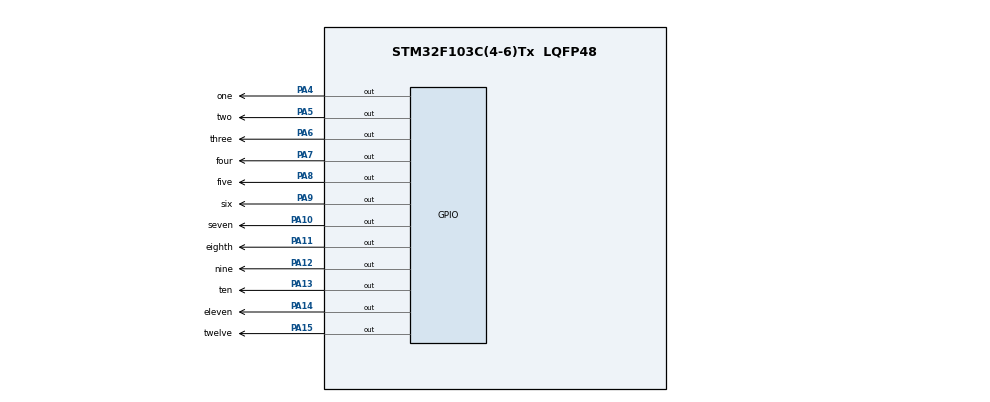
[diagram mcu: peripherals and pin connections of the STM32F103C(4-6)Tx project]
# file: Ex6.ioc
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Mcu.Family=STM32F1
Mcu.Name=STM32F103C(4-6)Tx
Mcu.Package=LQFP48
NVIC.PriorityGroup=NVIC_PRIORITYGROUP_4
PA10.GPIO_Label=seven
PA10.Signal=GPIO_Output
PA11.GPIO_Label=eighth
PA11.Signal=GPIO_Output
PA12.GPIO_Label=nine
PA12.Signal=GPIO_Output
PA13.GPIO_Label=ten
PA13.Signal=GPIO_Output
PA14.GPIO_Label=eleven
PA14.Signal=GPIO_Output
PA15.GPIO_Label=twelve
PA15.Signal=GPIO_Output
PA4.GPIO_Label=one
PA4.Signal=GPIO_Output
PA5.GPIO_Label=two
PA5.Signal=GPIO_Output
PA6.GPIO_Label=three
PA6.Signal=GPIO_Output
PA7.GPIO_Label=four
PA7.Signal=GPIO_Output
PA8.GPIO_Label=five
PA8.Signal=GPIO_Output
PA9.GPIO_Label=six
PA9.Signal=GPIO_Output
ProjectManager.HeapSize=0x200
ProjectManager.StackSize=0x400
ProjectManager.TargetToolchain=STM32CubeIDE
RCC.APB1Freq_Value=8000000
RCC.APB2Freq_Value=8000000
VP_SYS_VS_ND.Mode=No_Debug
board=custom

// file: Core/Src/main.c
/* USER CODE BEGIN Header */
/**
  ******************************************************************************
  * @file           : main.c
  * @brief          : Main program body
  ******************************************************************************
  * @attention
  *
  * <h2><center>&copy; Copyright (c) 2025 STMicroelectronics.
  * All rights reserved.</center></h2>
  *
  * This software component is licensed by ST under BSD 3-Clause license,
  * the "License"; You may not use this file except in compliance with the
  * License. You may obtain a copy of the License at:
  *                        opensource.org/licenses/BSD-3-Clause
  *
  ******************************************************************************
  */
/* USER CODE END Header */
#include "main.h"

/* USER CODE BEGIN PV */

uint16_t led_pins[12] = {
    GPIO_PIN_4, GPIO_PIN_5, GPIO_PIN_6, GPIO_PIN_7,
    GPIO_PIN_8, GPIO_PIN_9, GPIO_PIN_10, GPIO_PIN_11,
    GPIO_PIN_12, GPIO_PIN_13, GPIO_PIN_14, GPIO_PIN_15
};
void init()
{
	for(int  i = 0; i < 12; i = i +1)
		{
			HAL_GPIO_WritePin(GPIOA, led_pins[i], SET);
		}
}
void toggle_led(int num)
{
      if(num < 12)
    	 HAL_GPIO_TogglePin(GPIOA, led_pins[num]);

}
/* USER CODE END PV */

void SystemClock_Config(void);
static void MX_GPIO_Init(void);

int main(void)
{

  /* MCU Configuration--------------------------------------------------------*/

  /* Reset of all peripherals, Initializes the Flash interface and the Systick. */
  HAL_Init();

  /* Configure the system clock */
  SystemClock_Config();

  /* Initialize all configured peripherals */
  MX_GPIO_Init();

  /* Infinite loop */
  /* USER CODE BEGIN WHILE */
  init();
  uint8_t count = 0;
  while (1)
  {
	  toggle_led(count);
	  count = (count+1)%12;
	  HAL_Delay(100);
    /* USER CODE END WHILE */
  }
}

void SystemClock_Config(void)
{
  RCC_OscInitTypeDef RCC_OscInitStruct = {0};
  RCC_ClkInitTypeDef RCC_ClkInitStruct = {0};

  /** Initializes the RCC Oscillators according to the specified parameters
  * in the RCC_OscInitTypeDef structure.
  */
  RCC_OscInitStruct.OscillatorType = RCC_OSCILLATORTYPE_HSI;
  RCC_OscInitStruct.HSIState = RCC_HSI_ON;
  RCC_OscInitStruct.HSICalibrationValue = RCC_HSICALIBRATION_DEFAULT;
  RCC_OscInitStruct.PLL.PLLState = RCC_PLL_NONE;
  if (HAL_RCC_OscConfig(&RCC_OscInitStruct) != HAL_OK)
  {
    Error_Handler();
  }
  /** Initializes the CPU, AHB and APB buses clocks
  */
  RCC_ClkInitStruct.ClockType = RCC_CLOCKTYPE_HCLK|RCC_CLOCKTYPE_SYSCLK
                              |RCC_CLOCKTYPE_PCLK1|RCC_CLOCKTYPE_PCLK2;
  RCC_ClkInitStruct.SYSCLKSource = RCC_SYSCLKSOURCE_HSI;
  RCC_ClkInitStruct.AHBCLKDivider = RCC_SYSCLK_DIV1;
  RCC_ClkInitStruct.APB1CLKDivider = RCC_HCLK_DIV1;
  RCC_ClkInitStruct.APB2CLKDivider = RCC_HCLK_DIV1;

  if (HAL_RCC_ClockConfig(&RCC_ClkInitStruct, FLASH_LATENCY_0) != HAL_OK)
  {
    Error_Handler();
  }
}

static void MX_GPIO_Init(void)
{
  GPIO_InitTypeDef GPIO_InitStruct = {0};

  /* GPIO Ports Clock Enable */
  __HAL_RCC_GPIOA_CLK_ENABLE();

  /*Configure GPIO pin Output Level */
  HAL_GPIO_WritePin(GPIOA, one_Pin|two_Pin|three_Pin|four_Pin
                          |five_Pin|six_Pin|seven_Pin|eighth_Pin
                          |nine_Pin|ten_Pin|eleven_Pin|twelve_Pin, GPIO_PIN_RESET);

  /*Configure GPIO pins : one_Pin two_Pin three_Pin four_Pin
                           five_Pin six_Pin seven_Pin eighth_Pin
                           nine_Pin ten_Pin eleven_Pin twelve_Pin */
  GPIO_InitStruct.Pin = one_Pin|two_Pin|three_Pin|four_Pin
                          |five_Pin|six_Pin|seven_Pin|eighth_Pin
                          |nine_Pin|ten_Pin|eleven_Pin|twelve_Pin;
  GPIO_InitStruct.Mode = GPIO_MODE_OUTPUT_PP;
  GPIO_InitStruct.Pull = GPIO_NOPULL;
  GPIO_InitStruct.Speed = GPIO_SPEED_FREQ_LOW;
  HAL_GPIO_Init(GPIOA, &GPIO_InitStruct);

}

void Error_Handler(void)
{
  __disable_irq();
  while (1)
  {
  }
}

/************************ (C) COPYRIGHT STMicroelectronics *****END OF FILE****/
